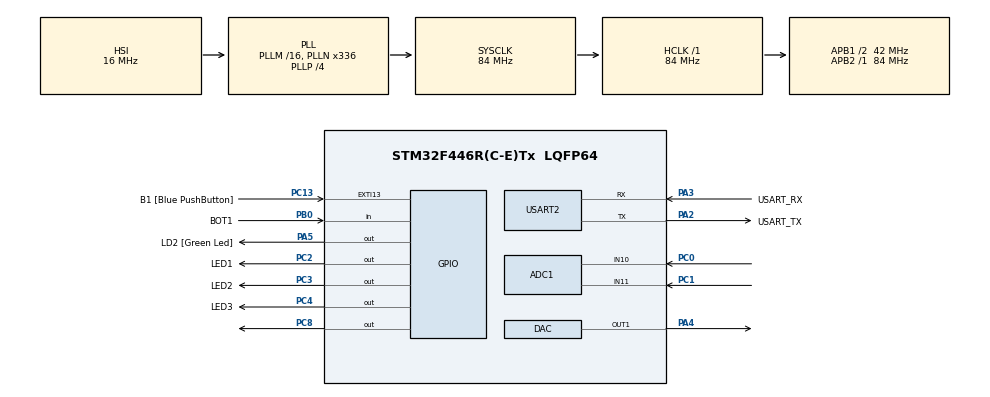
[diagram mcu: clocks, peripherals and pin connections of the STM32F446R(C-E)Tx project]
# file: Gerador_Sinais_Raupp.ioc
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ADC1.Channel-0\#ChannelRegularConversion=ADC_CHANNEL_10
ADC1.Channel-1\#ChannelRegularConversion=ADC_CHANNEL_11
ADC1.ContinuousConvMode=ENABLE
ADC1.DMAContinuousRequests=ENABLE
ADC1.NbrOfConversion=2
ADC1.NbrOfConversionFlag=1
ADC1.Rank-0\#ChannelRegularConversion=1
ADC1.Rank-1\#ChannelRegularConversion=2
ADC1.SamplingTime-0\#ChannelRegularConversion=ADC_SAMPLETIME_28CYCLES
ADC1.SamplingTime-1\#ChannelRegularConversion=ADC_SAMPLETIME_28CYCLES
ADC1.ScanConvMode=ENABLE
ADC1.master=1
DAC.DAC_Trigger=DAC_TRIGGER_T6_TRGO
Dma.ADC1.0.Direction=DMA_PERIPH_TO_MEMORY
Dma.ADC1.0.FIFOMode=DMA_FIFOMODE_ENABLE
Dma.ADC1.0.FIFOThreshold=DMA_FIFO_THRESHOLD_HALFFULL
Dma.ADC1.0.Instance=DMA2_Stream0
Dma.ADC1.0.MemBurst=DMA_MBURST_INC4
Dma.ADC1.0.MemDataAlignment=DMA_MDATAALIGN_HALFWORD
Dma.ADC1.0.MemInc=DMA_MINC_ENABLE
Dma.ADC1.0.Mode=DMA_CIRCULAR
Dma.ADC1.0.PeriphBurst=DMA_PBURST_SINGLE
Dma.ADC1.0.PeriphDataAlignment=DMA_PDATAALIGN_HALFWORD
Dma.ADC1.0.PeriphInc=DMA_PINC_DISABLE
Dma.ADC1.0.Priority=DMA_PRIORITY_LOW
Dma.DAC1.2.Direction=DMA_MEMORY_TO_PERIPH
Dma.DAC1.2.FIFOMode=DMA_FIFOMODE_ENABLE
Dma.DAC1.2.FIFOThreshold=DMA_FIFO_THRESHOLD_FULL
Dma.DAC1.2.Instance=DMA1_Stream5
Dma.DAC1.2.MemBurst=DMA_MBURST_INC8
Dma.DAC1.2.MemDataAlignment=DMA_MDATAALIGN_HALFWORD
Dma.DAC1.2.MemInc=DMA_MINC_ENABLE
Dma.DAC1.2.Mode=DMA_CIRCULAR
Dma.DAC1.2.PeriphBurst=DMA_PBURST_SINGLE
Dma.DAC1.2.PeriphDataAlignment=DMA_PDATAALIGN_HALFWORD
Dma.DAC1.2.PeriphInc=DMA_PINC_DISABLE
Dma.DAC1.2.Priority=DMA_PRIORITY_LOW
Dma.MEMTOMEM.3.Direction=DMA_MEMORY_TO_MEMORY
Dma.MEMTOMEM.3.FIFOMode=DMA_FIFOMODE_ENABLE
Dma.MEMTOMEM.3.FIFOThreshold=DMA_FIFO_THRESHOLD_FULL
Dma.MEMTOMEM.3.Instance=DMA2_Stream1
Dma.MEMTOMEM.3.MemBurst=DMA_MBURST_INC8
Dma.MEMTOMEM.3.MemDataAlignment=DMA_MDATAALIGN_HALFWORD
Dma.MEMTOMEM.3.MemInc=DMA_MINC_ENABLE
Dma.MEMTOMEM.3.Mode=DMA_NORMAL
Dma.MEMTOMEM.3.PeriphBurst=DMA_PBURST_INC8
Dma.MEMTOMEM.3.PeriphDataAlignment=DMA_PDATAALIGN_HALFWORD
Dma.MEMTOMEM.3.PeriphInc=DMA_PINC_ENABLE
Dma.MEMTOMEM.3.Priority=DMA_PRIORITY_LOW
Dma.Request0=ADC1
Dma.Request1=USART2_TX
Dma.Request2=DAC1
Dma.Request3=MEMTOMEM
Dma.USART2_TX.1.Direction=DMA_MEMORY_TO_PERIPH
Dma.USART2_TX.1.FIFOMode=DMA_FIFOMODE_DISABLE
Dma.USART2_TX.1.Instance=DMA1_Stream6
Dma.USART2_TX.1.MemDataAlignment=DMA_MDATAALIGN_BYTE
Dma.USART2_TX.1.MemInc=DMA_MINC_ENABLE
Dma.USART2_TX.1.Mode=DMA_NORMAL
Dma.USART2_TX.1.PeriphDataAlignment=DMA_PDATAALIGN_BYTE
Dma.USART2_TX.1.PeriphInc=DMA_PINC_DISABLE
Dma.USART2_TX.1.Priority=DMA_PRIORITY_LOW
Mcu.Family=STM32F4
Mcu.Name=STM32F446R(C-E)Tx
Mcu.Package=LQFP64
Mcu.UserConstants=V_ARR,media[1]
NVIC.DMA1_Stream5_IRQn=true\:0\:0\:false\:false\:true\:false\:true\:true
NVIC.DMA1_Stream6_IRQn=true\:0\:0\:false\:false\:true\:false\:true\:true
NVIC.DMA2_Stream0_IRQn=true\:0\:0\:false\:false\:true\:false\:true\:true
NVIC.PriorityGroup=NVIC_PRIORITYGROUP_0
NVIC.TIM1_UP_TIM10_IRQn=true\:0\:0\:false\:false\:true\:true\:true\:true
NVIC.USART2_IRQn=true\:0\:0\:false\:false\:true\:true\:true\:true
PA13.GPIO_Label=TMS
PA13.Mode=Serial_Wire
PA13.Signal=SYS_JTMS-SWDIO
PA14.GPIO_Label=TCK
PA14.Mode=Serial_Wire
PA14.Signal=SYS_JTCK-SWCLK
PA2.GPIO_Label=USART_TX
PA2.Mode=Asynchronous
PA2.Signal=USART2_TX
PA3.GPIO_Label=USART_RX
PA3.Mode=Asynchronous
PA3.Signal=USART2_RX
PA4.Signal=COMP_DAC1_group
PA5.GPIO_Label=LD2 [Green Led]
PA5.Signal=GPIO_Output
PB0.GPIO_Label=BOT1
PB0.GPIO_PuPd=GPIO_PULLDOWN
PB0.Signal=GPIO_Input
PB3.GPIO_Label=SWO
PB3.Signal=SYS_JTDO-SWO
PC0.Signal=ADCx_IN10
PC1.Signal=ADCx_IN11
PC13.GPIO_Label=B1 [Blue PushButton]
PC13.GPIO_ModeDefaultEXTI=GPIO_MODE_IT_FALLING
PC13.Signal=GPXTI13
PC14-OSC32_IN.Mode=LSE-External-Oscillator
PC14-OSC32_IN.Signal=RCC_OSC32_IN
PC15-OSC32_OUT.Mode=LSE-External-Oscillator
PC15-OSC32_OUT.Signal=RCC_OSC32_OUT
PC2.GPIO_Label=LED1
PC2.Signal=GPIO_Output
PC3.GPIO_Label=LED2
PC3.Signal=GPIO_Output
PC4.GPIO_Label=LED3
PC4.Signal=GPIO_Output
PC8.Signal=GPIO_Output
PH0-OSC_IN.Mode=HSE-External-Oscillator
PH0-OSC_IN.Signal=RCC_OSC_IN
PH1-OSC_OUT.Mode=HSE-External-Oscillator
PH1-OSC_OUT.Signal=RCC_OSC_OUT
ProjectManager.HeapSize=0x200
ProjectManager.StackSize=0x400
ProjectManager.TargetToolchain=STM32CubeIDE
RCC.48MHZClocksFreq_Value=84000000
RCC.AHBFreq_Value=84000000
RCC.APB1CLKDivider=RCC_HCLK_DIV2
RCC.APB1Freq_Value=42000000
RCC.APB1TimFreq_Value=84000000
RCC.APB2Freq_Value=84000000
RCC.APB2TimFreq_Value=84000000
RCC.CortexFreq_Value=84000000
RCC.FLatency-AdvancedSettings=FLASH_LATENCY_2
RCC.HCLKFreq_Value=84000000
RCC.HSE_VALUE=8000000
RCC.HSI_VALUE=16000000
RCC.PLLN=336
RCC.PLLP=RCC_PLLP_DIV4
RCC.SYSCLKFreq_VALUE=84000000
RCC.SYSCLKSource=RCC_SYSCLKSOURCE_PLLCLK
RCC.USBFreq_Value=168000000
RCC.VCOOutputFreq_Value=336000000
SH.ADCx_IN10.0=ADC1_IN10,IN10
SH.ADCx_IN11.0=ADC1_IN11,IN11
SH.COMP_DAC1_group.0=DAC_OUT1,DAC_OUT1
TIM10.Period=500-1
TIM10.Prescaler=8400-1
TIM3.AutoReloadPreload=TIM_AUTORELOAD_PRELOAD_ENABLE
TIM3.Period=100-1
TIM3.Prescaler=0
TIM6.AutoReloadPreload=TIM_AUTORELOAD_PRELOAD_ENABLE
TIM6.Period=4096
TIM6.Prescaler=340
TIM6.TIM_MasterOutputTrigger=TIM_TRGO_UPDATE
USART2.VirtualMode=VM_ASYNC
VP_TIM10_VS_ClockSourceINT.Mode=Enable_Timer
VP_TIM3_VS_ClockSourceINT.Mode=Internal
VP_TIM6_VS_ClockSourceINT.Mode=Enable_Timer
board=NUCLEO-F446RE

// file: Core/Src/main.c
/* USER CODE BEGIN Header */
/**
 ******************************************************************************
 * @file           : main.c
 * @brief          : Main program body
 ******************************************************************************
 * @attention
 *
 * Copyright (c) 2023 STMicroelectronics.
 * All rights reserved.
 *
 * This software is licensed under terms that can be found in the LICENSE file
 * in the root directory of this software component.
 * If no LICENSE file comes with this software, it is provided AS-IS.
 *
 ******************************************************************************
 */
/* USER CODE END Header */
#include "main.h"
#include "adc.h"
#include "dac.h"
#include "dma.h"
#include "tim.h"
#include "usart.h"
#include "gpio.h"

/* USER CODE BEGIN Includes */
#include<stdio.h>
#include <string.h>
#include <math.h>

/* USER CODE END Includes */

/* USER CODE BEGIN PD */

#define POT_BUFFER 64

#define SCALE_ADC (3.3/4095)

#define TOUT 100
#define TAM_MSG 100

#define TAM_MEDIDAS 64

#define N_AMOSTRAS 64

/* USER CODE END PD */

/* USER CODE BEGIN PV */
// MAQUINA DE ESTADOS
enum {
	DESLIGADO = 0, SENOIDE, QUADRADA, TRIANGULAR
};

uint8_t estado = DESLIGADO;

// DETEC BORDA
enum {
	AGORA = 0, ANTES
};

uint8_t comando = 0;
uint8_t bt1[2] = { 0, 0 };

uint8_t bsubida;
uint8_t bdescida;

char msg[TAM_MSG];

volatile uint16_t medidas[TAM_MEDIDAS][2];
int media[2];

#define NAMOSTRAS 64

typedef enum {SIN=0,TRI,SQR,SAW,NONE} sinal_t;

uint32_t pino[4]={GPIO_PIN_2,GPIO_PIN_3,GPIO_PIN_4,GPIO_PIN_4};

const uint16_t modSinal[4][NAMOSTRAS] = {
										{2047,2247, 2446, 2641,
										2830, 3011, 3184, 3345,
										3494, 3629, 3749, 3852,
										3938, 4005, 4054, 4084,
										4093, 4084, 4054, 4005,
										3938, 3852, 3749, 3629,
										3494, 3345, 3184, 3011,
										2830, 2641, 2446, 2247,
										2047, 1846, 1647, 1452,
										1263, 1082, 909, 748,
										599, 464, 344, 241,
										155, 88, 39, 9,
										0, 9, 39, 88,
										155, 241, 344, 464,
										599, 748, 909, 1082,
										1263, 1452, 1647, 1846},

									   {0, 127, 255, 383, 511, 639, 767, 895, 1023, 1151, 1279, 1407,
										1535, 1663, 1791, 1919, 2046, 2174, 2302, 2430, 2558, 2686,
										2814, 2942, 3070, 3198, 3326, 3454, 3582, 3710, 3838, 3965,
										4093, 4221, 3842, 3714, 3586, 3458, 3330, 3202, 3074, 2946,
										2818, 2690, 2562, 2434, 2306, 2179, 2051, 1923, 1795, 1667,
										1539, 1411, 1283, 1155, 1027, 899, 771, 643, 515, 387, 260, 132
									   },

									   {0, 0, 0, 0, 0, 0, 0, 0,
										0, 0, 0, 0, 0, 0, 0, 0,
										0, 0, 0, 0, 0, 0, 0, 0,
										0, 0, 0, 0, 0, 0, 0, 0,
										4095, 4095, 4095, 4095, 4095, 4095, 4095, 4095,
										4095, 4095, 4095, 4095, 4095, 4095, 4095, 4095,
										4095, 4095, 4095, 4095, 4095, 4095, 4095, 4095,
										4095, 4095, 4095, 4095, 4095, 4095, 4095, 4095
									   },

									   {0, 127, 255, 383, 511, 639, 767, 895, 1023, 1151, 1279, 1407,
										1535, 1663, 1791, 1919, 2046, 2174, 2302, 2430, 2558, 2686,
										2814, 2942, 3070, 3198, 3326, 3454, 3582, 3710, 3838, 3965,
										4093, 4221,	0, 0, 0, 0, 0, 0, 0, 0,0,0,
										0, 0, 0, 0, 0, 0, 0, 0, 0, 0, 0, 0,0,0,0,0}
};

const uint16_t zero[2]={1,1};

uint16_t sinal[NAMOSTRAS];

sinal_t sinAtual;

uint16_t escala=0,nova_escala=0;

float escala_amplitude;

uint16_t valor_pot2 = 0;

float fator_divisorio = 10/4096;

/* USER CODE END PV */

void SystemClock_Config(void);

/* USER CODE BEGIN 0 */

void HAL_TIM_PeriodElapsedCallback(TIM_HandleTypeDef *htim) {

	if (htim->Instance == TIM10) {
////////////////////ENVIANDO PELA SERIAL///////////////////////////

		sprintf(msg, "\rMedia1 = %4i | Media2 = %4i", media[0], media[1]);
		HAL_UART_Transmit_DMA(&huart2, msg, strlen(msg));
		msg[0] = '\0';

		HAL_GPIO_TogglePin(GPIOC, GPIO_PIN_8);

//////////////////DEBOUNCE E DETECCAO DE BORDA///////////////////

		bt1[AGORA] = HAL_GPIO_ReadPin(BOT1_GPIO_Port, BOT1_Pin);

		if (bt1[AGORA] == 1 && bt1[ANTES] == 0) {

			bsubida = 1;
			bdescida = 0;
			comando++;

		}

		if (bt1[AGORA] == 0 && bt1[ANTES] == 1) {

			bdescida = 1;
			bsubida = 0;

		}

		bt1[ANTES] = bt1[AGORA];  /////// DETC BOT 1

		if (comando >=5 )
			comando = 0;

	} //////////////FIM DEBOUNCE E DETEC.BORDA

}

void HAL_ADC_ConvCpltCallback(ADC_HandleTypeDef *hadc) {

	int i;
	media[0] = media[1] = 0;

	for (i = 0; i < TAM_MEDIDAS; i++) {

		media[0] += medidas[i][0]; // escreve os valores de uma das medidas na coluna 0 e na linha referente a i. ate ler toda a matriz
		media[1] += medidas[i][1]; // escreve os valores da segunda medida na coluna 2

	}

	for (i = 0; i < 2; i++){

		media[i] /= TAM_MEDIDAS;

	}
	if(media[1] < 50)
		media[1] = 50;
	if(media[1] > 4095)
		media[1] = 4095;

	__HAL_TIM_SET_AUTORELOAD(&htim6, media[0]);

	if (media[1]>escala)
		nova_escala=media[1]-escala;
	else
		nova_escala=escala-media[1];

	if(nova_escala > 4 )
		{
		nova_escala=media[1];
		}
	else
		nova_escala=escala;
}

void escala_sinal(void)
{
	escala_amplitude =((float)escala/4095.0);

	for(int i= 0; i < NAMOSTRAS; i++){
			sinal[i] = (uint16_t)(((float)modSinal[sinAtual][i]) * escala_amplitude)  ; //FATOR DE ESCALA;
		}

}

/* USER CODE END 0 */

int main(void)
{

  /* MCU Configuration--------------------------------------------------------*/

  /* Reset of all peripherals, Initializes the Flash interface and the Systick. */

 	HAL_Init();

  /* Configure the system clock */
  SystemClock_Config();

  /* Initialize all configured peripherals */
  MX_GPIO_Init();
  MX_DMA_Init();
  MX_USART2_UART_Init();
  MX_ADC1_Init();
  MX_TIM10_Init();
  MX_TIM3_Init();
  MX_DAC_Init();
  MX_TIM6_Init();
  /* USER CODE BEGIN 2 */

  	 sinAtual=SIN;

	HAL_TIM_Base_Start_IT(&htim10);
	HAL_TIM_Base_Start(&htim6);

	HAL_ADC_Start_DMA(&hadc1, (uint32_t*)medidas, TAM_MEDIDAS * 2); // (qual adc eh, onde armazena, tamanho)

  /* USER CODE END 2 */

  /* Infinite loop */
  /* USER CODE BEGIN WHILE */
	while (1) {

		// Escala sinal quando necessario
		if(escala!=nova_escala)
		{
			escala=nova_escala;
			escala_sinal();
		}

// Gerencia saida
		switch (comando) {
		case 0:
			HAL_DAC_Stop_DMA(&hdac, DAC_CHANNEL_1);
			HAL_DAC_Start_DMA(&hdac, DAC_CHANNEL_1,zero,2,DAC_ALIGN_12B_R);
			HAL_GPIO_WritePin(GPIOC, (GPIO_PIN_2|GPIO_PIN_3|GPIO_PIN_4), GPIO_PIN_RESET);

			sinAtual=NONE;
			break;

		default :
			if((sinAtual+1)!=comando)
			{
				sinAtual=comando-1;
				HAL_DAC_Stop_DMA(&hdac, DAC_CHANNEL_1);
			  	escala_sinal();
			  	HAL_DAC_Start_DMA(&hdac, DAC_CHANNEL_1,sinal,NAMOSTRAS,DAC_ALIGN_12B_R);
			  	HAL_GPIO_WritePin(GPIOC, (GPIO_PIN_2|GPIO_PIN_3|GPIO_PIN_4), GPIO_PIN_RESET);
			  	HAL_GPIO_WritePin(GPIOC, pino[sinAtual], GPIO_PIN_SET);
			}
    /* USER CODE END WHILE */
		}
	}
}

void SystemClock_Config(void)
{
  RCC_OscInitTypeDef RCC_OscInitStruct = {0};
  RCC_ClkInitTypeDef RCC_ClkInitStruct = {0};

  /** Configure the main internal regulator output voltage
  */
  __HAL_RCC_PWR_CLK_ENABLE();
  __HAL_PWR_VOLTAGESCALING_CONFIG(PWR_REGULATOR_VOLTAGE_SCALE3);

  /** Initializes the RCC Oscillators according to the specified parameters
  * in the RCC_OscInitTypeDef structure.
  */
  RCC_OscInitStruct.OscillatorType = RCC_OSCILLATORTYPE_HSI;
  RCC_OscInitStruct.HSIState = RCC_HSI_ON;
  RCC_OscInitStruct.HSICalibrationValue = RCC_HSICALIBRATION_DEFAULT;
  RCC_OscInitStruct.PLL.PLLState = RCC_PLL_ON;
  RCC_OscInitStruct.PLL.PLLSource = RCC_PLLSOURCE_HSI;
  RCC_OscInitStruct.PLL.PLLM = 16;
  RCC_OscInitStruct.PLL.PLLN = 336;
  RCC_OscInitStruct.PLL.PLLP = RCC_PLLP_DIV4;
  RCC_OscInitStruct.PLL.PLLQ = 2;
  RCC_OscInitStruct.PLL.PLLR = 2;
  if (HAL_RCC_OscConfig(&RCC_OscInitStruct) != HAL_OK)
  {
    Error_Handler();
  }

  /** Initializes the CPU, AHB and APB buses clocks
  */
  RCC_ClkInitStruct.ClockType = RCC_CLOCKTYPE_HCLK|RCC_CLOCKTYPE_SYSCLK
                              |RCC_CLOCKTYPE_PCLK1|RCC_CLOCKTYPE_PCLK2;
  RCC_ClkInitStruct.SYSCLKSource = RCC_SYSCLKSOURCE_PLLCLK;
  RCC_ClkInitStruct.AHBCLKDivider = RCC_SYSCLK_DIV1;
  RCC_ClkInitStruct.APB1CLKDivider = RCC_HCLK_DIV2;
  RCC_ClkInitStruct.APB2CLKDivider = RCC_HCLK_DIV1;

  if (HAL_RCC_ClockConfig(&RCC_ClkInitStruct, FLASH_LATENCY_2) != HAL_OK)
  {
    Error_Handler();
  }
}

void Error_Handler(void)
{
	__disable_irq();
	while (1) {
	}
}
